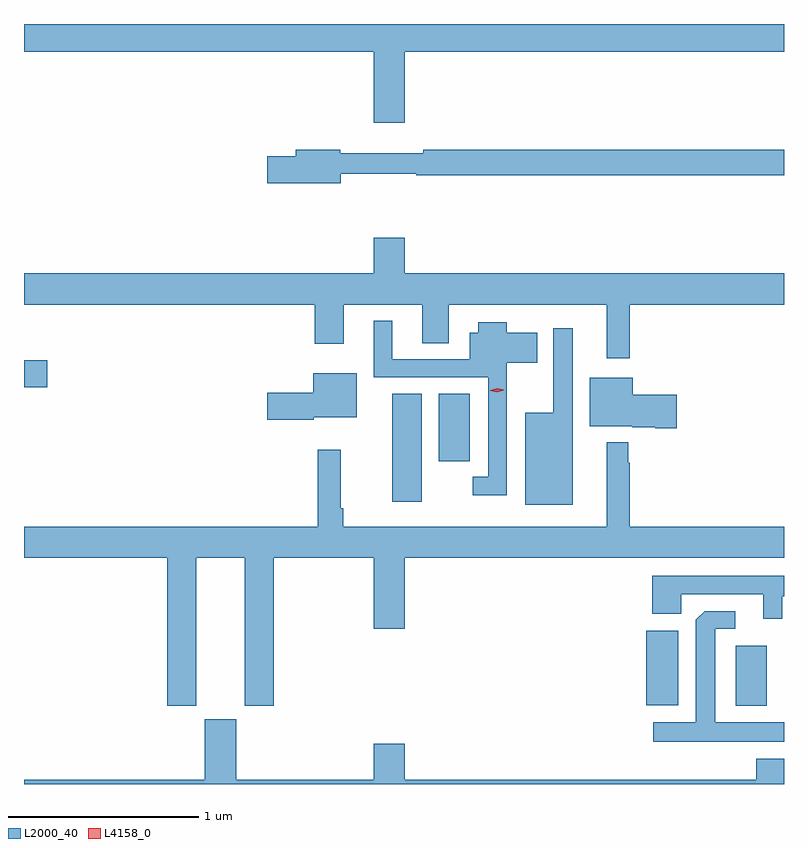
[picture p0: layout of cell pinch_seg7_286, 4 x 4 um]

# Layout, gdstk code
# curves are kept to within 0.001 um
import gdstk
lib = gdstk.Library(unit=1e-6, precision=1e-09)
def R(c, l, rs):  # rectangles x0, y0, x1, y1
    for r in rs: c.add(gdstk.rectangle(r[:2], r[2:], *l))
def P(c, l, *ps):  # polygons
    for p in ps: c.add(gdstk.Polygon(p, *l))
L2000_40 = (2000, 40)
L4158_0 = (4158, 0)

pinch_seg7_286 = lib.new_cell('pinch_seg7_286')
R(pinch_seg7_286, L2000_40, [(514.565,1041.128,514.729,1041.445), (514.094,1041.131,514.264,1041.523), (512.759,1042.203,512.914,1042.772), (513.002,1042.416,513.166,1042.772), (510.82,1042.805,510.943,1042.947)])
P(pinch_seg7_286, L2000_40, [(512.824,1044.572),(514.82,1044.572),(514.82,1044.717),(510.82,1044.717),(510.82,1044.572),(512.66,1044.572),(512.66,1044.198),(512.824,1044.198)],
  [(512.488,1043.928),(512.884,1043.928),(512.884,1043.92),(514.82,1043.92),(514.82,1044.056),(512.92,1044.056),(512.92,1044.037),(512.484,1044.037),(512.484,1044.056),(512.249,1044.056),(512.249,1044.02),(512.1,1044.02),(512.1,1043.878),(512.488,1043.878)],
  [(514.009,1043.24),(514.82,1043.24),(514.82,1043.404),(512.824,1043.404),(512.824,1043.593),(512.66,1043.593),(512.66,1043.404),(510.82,1043.404),(510.82,1043.24),(512.351,1043.24),(512.351,1043.034),(512.503,1043.034),(512.503,1043.24),(512.915,1043.24),(512.915,1043.038),(513.055,1043.038),(513.055,1043.24),(513.887,1043.24),(513.887,1042.959),(514.009,1042.959)],
  [(513.36,1042.934),(513.52,1042.934),(513.52,1043.092),(513.361,1043.092),(513.361,1043.146),(513.212,1043.146),(513.212,1043.092),(513.167,1043.092),(513.167,1042.953),(512.758,1042.953),(512.758,1043.155),(512.66,1043.155),(512.66,1042.857),(513.264,1042.857),(513.264,1042.335),(513.183,1042.335),(513.183,1042.238),(513.36,1042.238)],
  [(513.709,1043.116),(513.605,1043.116),(513.605,1042.672),(513.458,1042.672),(513.458,1042.187),(513.709,1042.187)],
  [(512.346,1042.646),(512.572,1042.646),(512.572,1042.879),(512.342,1042.879),(512.342,1042.776),(512.1,1042.776),(512.1,1042.634),(512.346,1042.634)],
  [(514.255,1042.767),(514.024,1042.767),(514.024,1042.855),(513.797,1042.855),(513.797,1042.601),(514.02,1042.601),(514.02,1042.595),(514.142,1042.595),(514.142,1042.589),(514.255,1042.589)],
  [(511.726,1041.908),(511.982,1041.908),(511.982,1041.129),(512.135,1041.129),(512.135,1041.908),(512.66,1041.908),(512.66,1041.534),(512.824,1041.534),(512.824,1041.908),(514.82,1041.908),(514.82,1042.072),(514.009,1042.072),(514.009,1042.409),(514.001,1042.409),(514.001,1042.516),(513.887,1042.516),(513.887,1042.072),(512.501,1042.072),(512.501,1042.168),(512.486,1042.168),(512.486,1042.477),(512.365,1042.477),(512.365,1042.072),(510.82,1042.072),(510.82,1041.908),(511.574,1041.908),(511.574,1041.129),(511.726,1041.129)],
  [(514.81,1041.705),(514.82,1041.705),(514.82,1041.813),(514.127,1041.813),(514.127,1041.614),(514.278,1041.614),(514.278,1041.717),(514.712,1041.717),(514.712,1041.588),(514.81,1041.588)],
  [(514.82,1041.043),(514.459,1041.043),(514.459,1041.534),(514.564,1041.534),(514.564,1041.627),(514.402,1041.627),(514.356,1041.581),(514.355,1041.043),(514.131,1041.043),(514.131,1040.939),(514.82,1040.939)],
  [(514.82,1040.851),(514.673,1040.851),(514.673,1040.74),(512.824,1040.74),(512.824,1040.929),(512.66,1040.929),(512.66,1040.74),(511.936,1040.74),(511.936,1041.057),(511.772,1041.057),(511.772,1040.74),(510.82,1040.74),(510.82,1040.717),(514.82,1040.717)])
P(pinch_seg7_286, L4158_0, [(513.311,1042.78),(513.275,1042.788),(513.275,1042.788),(513.275,1042.789),(513.31,1042.8),(513.345,1042.791),(513.345,1042.791),(513.345,1042.79)])

lib.write_gds('pinch_seg7_286.gds')
